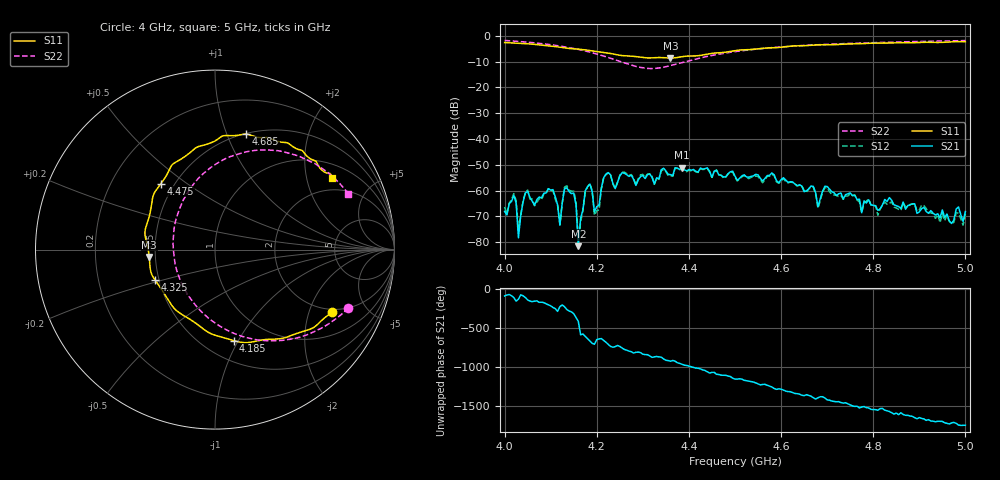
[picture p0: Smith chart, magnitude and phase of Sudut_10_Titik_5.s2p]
# Hz S RI R 50
! CMT, C1220, 16058040, 17.2.0/1
! Date: 15/08/2018 12:17:59
! Data: Format (Calibration Info)
! Freq  S11: Re/Im (F2)  S21: Re/Im (F2)  S12: Re/Im (F2)  S22: Re/Im (F2)
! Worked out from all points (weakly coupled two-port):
!   201 points, 4 GHz to 5 GHz, reference 50 ohm
!   highest |S21| = -51.13 dB at 4.385 GHz (marker M1); lowest = -81.6 dB at 4.16 GHz (marker M2)
!   lowest |S11| = -8.7 dB at 4.36 GHz (marker M3), VSWR 2.17, Z = 23.1 - j2.2 ohm
!   |S11| at or under -10 dB: nowhere
!   |S22| runs from -12.7 to -1.8 dB; largest |S21 - S12| = 0.00018
!   S11 on the Smith chart (normalised r, x): 4 GHz: 1.86, -2.87; 4.185 GHz: 0.69, -0.96; 4.325 GHz: 0.47, -0.19; 4.475 GHz: 0.42, +0.40; 4.685 GHz: 0.50, +1.17; 5 GHz: 1.47, +2.85
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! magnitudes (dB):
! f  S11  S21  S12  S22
! 4 GHz  -2.6  -68.1  -66.4  -1.8
! 4.02 GHz  -2.8  -61.9  -61.2  -2.1
! 4.03 GHz  -2.9  -78.3  -75.2  -2.2
! 4.045 GHz  -3.1  -60.9  -60.9  -2.4
! 4.105 GHz  -4.1  -59.6  -60.2  -3.6
! 4.12 GHz  -4.4  -73.4  -73.2  -4.0
! 4.135 GHz  -4.8  -58.9  -58.2  -4.5
! 4.16 GHz  -5.2  -81.6  -79.0  -5.3
! 4.17 GHz  -5.4  -67.5  -67.5  -5.7
! 4.185 GHz  -5.7  -57.4  -57.3  -6.4
! 4.195 GHz  -6.0  -68.2  -69.6  -6.8
! 4.225 GHz  -6.7  -53.0  -53.1  -8.4
! 4.325 GHz  -8.5  -57.5  -57.5  -12.7
! 4.335 GHz  -8.4  -55.5  -55.7  -12.5
! 4.36 GHz  -8.7  -53.8  -54.2  -11.6
! 4.385 GHz  -8.1  -51.1  -51.3  -10.4
! 4.475 GHz  -6.5  -54.7  -55.2  -6.8
! 4.5 GHz  -5.8  -54.4  -54.9  -6.1
! 4.67 GHz  -3.7  -58.4  -58.7  -3.6
! 4.685 GHz  -3.5  -63.2  -64.0  -3.4
! 4.835 GHz  -2.8  -62.7  -64.9  -2.5
! 5 GHz  -2.3  -68.1  -69.1  -1.9
